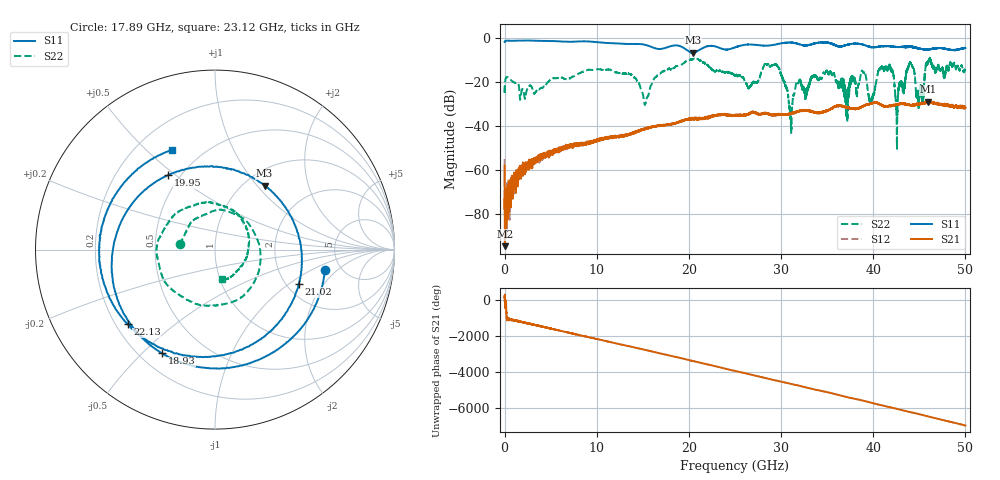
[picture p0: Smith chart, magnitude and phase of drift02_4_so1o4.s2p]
!Created with skrf (http://scikit-rf.org).
# Hz S RI R 50.0
!freq ReS11 ImS11 ReS21 ImS21 ReS12 ImS12 ReS22 ImS22
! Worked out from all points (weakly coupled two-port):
!   10001 points, 300 kHz to 50 GHz, reference 50 ohm
!   highest |S21| = -29.09 dB at 45.99 GHz (marker M1); lowest = -94.7 dB at 30.3 MHz (marker M2)
!   lowest |S11| = -6.9 dB at 20.45 GHz (marker M3), VSWR 2.64, Z = 61.2 + j54.7 ohm
!   |S11| at or under -10 dB: nowhere
!   |S22| runs from -50.5 to -9.2 dB; largest |S21 - S12| = 0.0032
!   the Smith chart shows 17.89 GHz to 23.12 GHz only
!   S11 on the Smith chart (normalised r, x): 17.89 GHz: 3.75, -1.39; 18.93 GHz: 0.29, -0.57; 19.95 GHz: 0.43, +0.47; 21.02 GHz: 2.32, -1.19; 22.13 GHz: 0.25, -0.35; 23.12 GHz: 0.35, +0.60
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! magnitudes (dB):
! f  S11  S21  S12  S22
! 300 kHz  -2.0  -58.1  -55.1  -21.9
! 30.3 MHz  -1.8  -94.7  -75.2  -22.5
! 8.335 GHz  -1.7  -48.6  -48.0  -15.8
! 15.3 GHz  -3.4  -41.3  -41.2  -29.8
! 16.67 GHz  -5.2  -40.2  -40.2  -16.8
! 17.89 GHz  -4.1  -39.5  -39.4  -14.1
! 18.93 GHz  -3.8  -38.3  -38.3  -12.6
! 19.95 GHz  -6.2  -37.1  -37.0  -10.3
! 20.45 GHz  -6.9  -37.1  -36.9  -9.9
! 21.02 GHz  -5.9  -37.3  -36.8  -9.9
! 22.13 GHz  -3.9  -36.2  -36.3  -12.9
! 23.12 GHz  -4.4  -35.2  -35.3  -15.3
! 25 GHz  -4.5  -35.5  -35.3  -17.3
! 29.5 GHz  -3.1  -34.8  -35.1  -12.4
! 31.04 GHz  -2.3  -34.5  -34.7  -36.2
! 33.34 GHz  -3.0  -33.5  -33.5  -18.0
! 38.92 GHz  -3.3  -31.1  -31.1  -15.9
! 39.75 GHz  -4.3  -30.1  -30.1  -28.9
! 41.67 GHz  -4.0  -31.0  -31.2  -13.5
! 42.56 GHz  -4.3  -30.3  -30.2  -44.5
! 45.99 GHz  -5.5  -29.1  -29.2  -11.2
! 50 GHz  -4.8  -32.0  -31.9  -15.1
